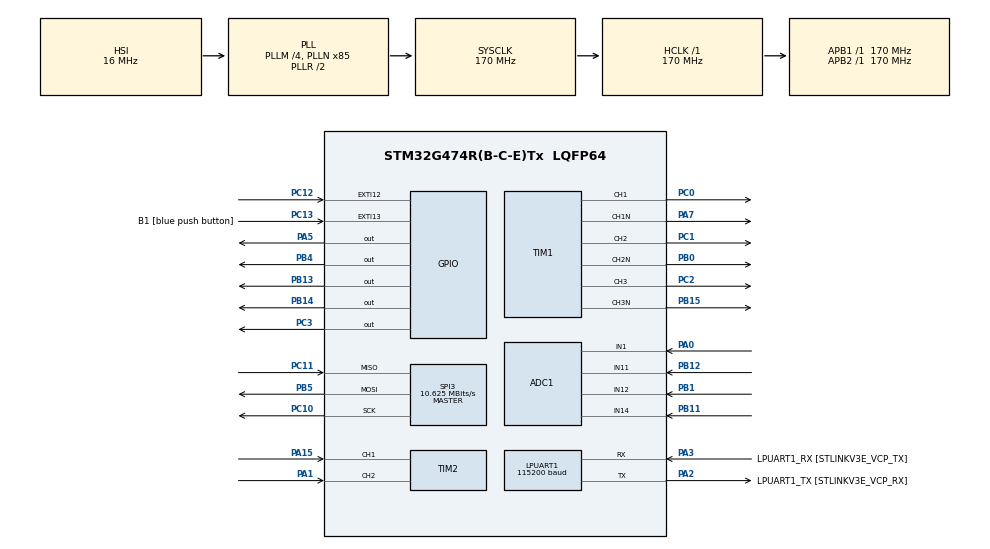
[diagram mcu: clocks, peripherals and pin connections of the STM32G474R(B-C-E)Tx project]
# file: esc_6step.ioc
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ADC1.EnableInjectedConversion=ENABLE
ADC1.EnableRegularConversion=DISABLE
ADC1.ExternalTrigInjecConv=ADC_EXTERNALTRIGINJEC_T1_TRGO
ADC1.InjNumberOfConversion=1
ADC1.InjectedChannel-2\#ChannelInjectedConversion=ADC_CHANNEL_1
ADC1.InjectedOffsetNumber-2\#ChannelInjectedConversion=ADC_OFFSET_NONE
ADC1.InjectedRank-2\#ChannelInjectedConversion=1
ADC1.InjectedSamplingTime-2\#ChannelInjectedConversion=ADC_SAMPLETIME_2CYCLES_5
ADC1.master=1
Dma.Request0=SPI3_RX
Dma.Request1=SPI3_TX
Dma.SPI3_RX.0.Direction=DMA_PERIPH_TO_MEMORY
Dma.SPI3_RX.0.EventEnable=DISABLE
Dma.SPI3_RX.0.Instance=DMA1_Channel1
Dma.SPI3_RX.0.MemDataAlignment=DMA_MDATAALIGN_BYTE
Dma.SPI3_RX.0.MemInc=DMA_MINC_ENABLE
Dma.SPI3_RX.0.Mode=DMA_NORMAL
Dma.SPI3_RX.0.PeriphDataAlignment=DMA_PDATAALIGN_BYTE
Dma.SPI3_RX.0.PeriphInc=DMA_PINC_DISABLE
Dma.SPI3_RX.0.Polarity=HAL_DMAMUX_REQ_GEN_RISING
Dma.SPI3_RX.0.Priority=DMA_PRIORITY_LOW
Dma.SPI3_RX.0.RequestNumber=1
Dma.SPI3_RX.0.SignalID=NONE
Dma.SPI3_RX.0.SyncEnable=DISABLE
Dma.SPI3_RX.0.SyncPolarity=HAL_DMAMUX_SYNC_NO_EVENT
Dma.SPI3_RX.0.SyncRequestNumber=1
Dma.SPI3_RX.0.SyncSignalID=NONE
Dma.SPI3_TX.1.Direction=DMA_MEMORY_TO_PERIPH
Dma.SPI3_TX.1.EventEnable=DISABLE
Dma.SPI3_TX.1.Instance=DMA1_Channel2
Dma.SPI3_TX.1.MemDataAlignment=DMA_MDATAALIGN_BYTE
Dma.SPI3_TX.1.MemInc=DMA_MINC_ENABLE
Dma.SPI3_TX.1.Mode=DMA_NORMAL
Dma.SPI3_TX.1.PeriphDataAlignment=DMA_PDATAALIGN_BYTE
Dma.SPI3_TX.1.PeriphInc=DMA_PINC_DISABLE
Dma.SPI3_TX.1.Polarity=HAL_DMAMUX_REQ_GEN_RISING
Dma.SPI3_TX.1.Priority=DMA_PRIORITY_LOW
Dma.SPI3_TX.1.RequestNumber=1
Dma.SPI3_TX.1.SignalID=NONE
Dma.SPI3_TX.1.SyncEnable=DISABLE
Dma.SPI3_TX.1.SyncPolarity=HAL_DMAMUX_SYNC_NO_EVENT
Dma.SPI3_TX.1.SyncRequestNumber=1
Dma.SPI3_TX.1.SyncSignalID=NONE
LPUART1.BaudRate=115200
LPUART1.WordLength=UART_WORDLENGTH_8B
Mcu.Family=STM32G4
Mcu.Name=STM32G474R(B-C-E)Tx
Mcu.Package=LQFP64
NVIC.DMA1_Channel1_IRQn=true\:0\:0\:false\:false\:true\:false\:true\:true
NVIC.DMA1_Channel2_IRQn=true\:0\:0\:false\:false\:true\:false\:true\:true
NVIC.PriorityGroup=NVIC_PRIORITYGROUP_4
PA0.Mode=IN1-Single-Ended
PA0.Signal=ADC1_IN1
PA1.Signal=S_TIM2_CH2
PA13.GPIO_Label=T_SWDIO
PA13.Mode=Serial_Wire
PA13.Signal=SYS_JTMS-SWDIO
PA14.GPIO_Label=T_SWCLK
PA14.Mode=Serial_Wire
PA14.Signal=SYS_JTCK-SWCLK
PA15.Signal=S_TIM2_CH1
PA2.GPIO_Label=LPUART1_TX [STLINKV3E_VCP_RX]
PA2.Mode=Asynchronous
PA2.Signal=LPUART1_TX
PA3.GPIO_Label=LPUART1_RX [STLINKV3E_VCP_TX]
PA3.Mode=Asynchronous
PA3.Signal=LPUART1_RX
PA5.Signal=GPIO_Output
PA7.Mode=PWM Generation1 CH1 CH1N
PA7.Signal=TIM1_CH1N
PB0.Mode=PWM Generation2 CH2 CH2N
PB0.Signal=TIM1_CH2N
PB1.Mode=IN12-Single-Ended
PB1.Signal=ADC1_IN12
PB11.Mode=IN14-Single-Ended
PB11.Signal=ADC1_IN14
PB12.Mode=IN11-Single-Ended
PB12.Signal=ADC1_IN11
PB13.Signal=GPIO_Output
PB14.Signal=GPIO_Output
PB15.Mode=PWM Generation3 CH3 CH3N
PB15.Signal=TIM1_CH3N
PB3.GPIO_Label=T_SWO
PB3.Signal=SYS_JTDO-SWO
PB4.Signal=GPIO_Output
PB5.Mode=Full_Duplex_Master
PB5.Signal=SPI3_MOSI
PC0.Signal=S_TIM1_CH1
PC1.Signal=S_TIM1_CH2
PC10.Mode=Full_Duplex_Master
PC10.Signal=SPI3_SCK
PC11.Mode=Full_Duplex_Master
PC11.Signal=SPI3_MISO
PC12.GPIO_ModeDefaultEXTI=GPIO_MODE_IT_RISING
PC12.Signal=GPXTI12
PC13.GPIO_Label=B1 [blue push button]
PC13.GPIO_ModeDefaultEXTI=GPIO_MODE_IT_RISING
PC13.Signal=GPXTI13
PC14-OSC32_IN.Mode=LSE-External-Oscillator
PC14-OSC32_IN.Signal=RCC_OSC32_IN
PC15-OSC32_OUT.Mode=LSE-External-Oscillator
PC15-OSC32_OUT.Signal=RCC_OSC32_OUT
PC2.Signal=S_TIM1_CH3
PC3.Signal=GPIO_Output
PF0-OSC_IN.Mode=HSE-External-Oscillator
PF0-OSC_IN.Signal=RCC_OSC_IN
PF1-OSC_OUT.Mode=HSE-External-Oscillator
PF1-OSC_OUT.Signal=RCC_OSC_OUT
ProjectManager.HeapSize=0x200
ProjectManager.StackSize=0x400
ProjectManager.TargetToolchain=STM32CubeIDE
RCC.ADC12Freq_Value=170000000
RCC.ADC345Freq_Value=170000000
RCC.AHBFreq_Value=170000000
RCC.APB1Freq_Value=170000000
RCC.APB1TimFreq_Value=170000000
RCC.APB2Freq_Value=170000000
RCC.APB2TimFreq_Value=170000000
RCC.CortexFreq_Value=170000000
RCC.EXTERNAL_CLOCK_VALUE=12288000
RCC.HCLKFreq_Value=170000000
RCC.HSE_VALUE=24000000
RCC.HSI48_VALUE=48000000
RCC.HSI_VALUE=16000000
RCC.PLLM=RCC_PLLM_DIV4
RCC.PLLN=85
RCC.RTCClockSelection=RCC_RTCCLKSOURCE_LSE
RCC.SYSCLKFreq_VALUE=170000000
RCC.SYSCLKSource=RCC_SYSCLKSOURCE_PLLCLK
RCC.USBFreq_Value=170000000
RCC.VCOOutputFreq_Value=340000000
SH.S_TIM1_CH1.0=TIM1_CH1,PWM Generation1 CH1 CH1N
SH.S_TIM1_CH2.0=TIM1_CH2,PWM Generation2 CH2 CH2N
SH.S_TIM1_CH3.0=TIM1_CH3,PWM Generation3 CH3 CH3N
SH.S_TIM2_CH1.0=TIM2_CH1,Encoder_Interface
SH.S_TIM2_CH2.0=TIM2_CH2,Encoder_Interface
SPI3.BaudRatePrescaler=SPI_BAUDRATEPRESCALER_16
SPI3.CalculateBaudRate=10.625 MBits/s
SPI3.DataSize=SPI_DATASIZE_8BIT
SPI3.Direction=SPI_DIRECTION_2LINES
SPI3.Mode=SPI_MODE_MASTER
SPI3.VirtualType=VM_MASTER
TIM1.Channel-PWM\ Generation1\ CH1\ CH1N=TIM_CHANNEL_1
TIM1.Channel-PWM\ Generation2\ CH2\ CH2N=TIM_CHANNEL_2
TIM1.Channel-PWM\ Generation3\ CH3\ CH3N=TIM_CHANNEL_3
TIM1.Channel-PWM\ Generation4\ No\ Output=TIM_CHANNEL_4
TIM1.CounterMode=TIM_COUNTERMODE_CENTERALIGNED1
TIM1.TIM_MasterOutputTrigger=TIM_TRGO_UPDATE
VP_DAC1_VS_DACI1.Mode=DAC_OUT1_Int
VP_SYS_VS_DBSignals.Mode=DisableDeadBatterySignals
VP_TIM1_VS_no_output4.Mode=PWM Generation4 No Output
board=NUCLEO-G474RE

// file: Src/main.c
/* USER CODE BEGIN Header */
/**
  ******************************************************************************
  * @file           : main.c
  * @brief          : Main program body
  ******************************************************************************
  * @attention
  *
  * Copyright (c) 2025 STMicroelectronics.
  * All rights reserved.
  *
  * This software is licensed under terms that can be found in the LICENSE file
  * in the root directory of this software component.
  * If no LICENSE file comes with this software, it is provided AS-IS.
  *
  ******************************************************************************
  */
/* USER CODE END Header */
#include "main.h"

/* USER CODE BEGIN Includes */

#include "spiflash.h"
#include "trace_spiflash.h"
#include <stdio.h>
/* USER CODE END Includes */

/* USER CODE BEGIN PM */
#ifndef __HAL_TIM_SET_TRGO
#define __HAL_TIM_SET_TRGO(__HANDLE__, __TRGO__) \
  MODIFY_REG((__HANDLE__)->Instance->CR2, TIM_CR2_MMS, (__TRGO__))
#endif
/* USER CODE END PM */

ADC_HandleTypeDef hadc1;

DAC_HandleTypeDef hdac1;

UART_HandleTypeDef hlpuart1;

SPI_HandleTypeDef hspi3;
DMA_HandleTypeDef hdma_spi3_rx;
DMA_HandleTypeDef hdma_spi3_tx;

TIM_HandleTypeDef htim1;
TIM_HandleTypeDef htim2;

/* USER CODE BEGIN PV */
// throttle
//
// BUG: low RPM has weird backward-looking phases, cannot commutate correctly
// BUG: Blown cycle budget on commutating
// BUG: new pinout (driven by adding TIM2	) affects performance: an ADC pin is adjacent to a timer pin
// BUG: COMM_MODE_PWMHIGH and COMM_MODE_PWMLOW dont work as well as should
// BUG: RPM filter assumes a fixed sample rate but its not
// TODO: try 60K
// TODO: fit PWMHIGH mode
// TODO: Analog throttle
// TODO: try highres timer
// TODO: lookup table for commutator step switchblock
// TODO: rewrite time-critical bits in LL
// TODO: Make time ch4 handling a one-time, remove from commutation func
// TODO: Macros for trigger, tasks
//
// encpos[4], cputime[4], adcval[2], commstate[2], 			comm_stabilize_count[4]
// shaftpos	  time, 	  adc		 commutator angle		how long since zc_det
//

#define ADC_BUF_SZ (2048)
#define TRG_BUF_SZ (2048)
#define TRIG_IDLE (0)
#define TRIG_PENDING (1)
#define TRIG_COMPLETE (2)
const int STATE_MEASURE = 0;
const int STATE_SPINUP = 1;
const int STATE_COMMUTATE = 2;

// MACRO
#define LPF(x, y, A, B) ( x*A + y*B )
#define TRIGGER_START(x)    (x = (x==TRIG_IDLE) ? TRIG_PENDING : x     )
#define TRIGGER_COMPLETE(x) (x = (x==TRIG_PENDING) ? TRIG_COMPLETE : x )
#define TRIGGER_RESET(x)    (x = TRIG_IDLE)
#define TRIGGER_STAT(x) (x)
const float CPU_CLK = 170E6;
void commutator(uint8_t step, uint16_t duty_cycle_ticks);
int16_t adc_buf[ADC_BUF_SZ];
uint32_t trg_buf[TRG_BUF_SZ];

// param
const int MOD_FREQ = 30000;
uint16_t per = (int)( CPU_CLK / (2*MOD_FREQ) );
// speed tables
float speed_vals[] = {0.70, 0.70, 0.87, 0.99};
int NUM_SPEEDS = sizeof(speed_vals) >> 2;
int speed_ndx = 0; // 0=

// commutation tables
#if 1
// canocial (ccw)
uint32_t comm_source_chan[6] = 	{TIM_CHANNEL_1, TIM_CHANNEL_1, TIM_CHANNEL_2, TIM_CHANNEL_2, TIM_CHANNEL_3, TIM_CHANNEL_3};
uint32_t comm_sink_chan[6] =   	{TIM_CHANNEL_2, TIM_CHANNEL_3, TIM_CHANNEL_3, TIM_CHANNEL_1, TIM_CHANNEL_1, TIM_CHANNEL_2};
uint32_t comm_float_chan[6] =  	{TIM_CHANNEL_3, TIM_CHANNEL_2, TIM_CHANNEL_1, TIM_CHANNEL_3, TIM_CHANNEL_2, TIM_CHANNEL_1};
uint32_t comm_adc_chan[6] = 	{ADC_CHANNEL_11, ADC_CHANNEL_12, ADC_CHANNEL_1, ADC_CHANNEL_11, ADC_CHANNEL_12, ADC_CHANNEL_1};
uint32_t comm_zz_pol[6] =       {0, 1, 0, 1, 0, 1};
#else
// alternate (cw)
uint32_t comm_source_chan[6] = 	{TIM_CHANNEL_1, TIM_CHANNEL_3, TIM_CHANNEL_3, TIM_CHANNEL_2, TIM_CHANNEL_2, TIM_CHANNEL_1};
uint32_t comm_sink_chan[6] =   	{TIM_CHANNEL_2, TIM_CHANNEL_2, TIM_CHANNEL_1, TIM_CHANNEL_1, TIM_CHANNEL_3, TIM_CHANNEL_3};
uint32_t comm_float_chan[6] =  	{TIM_CHANNEL_3, TIM_CHANNEL_1, TIM_CHANNEL_2, TIM_CHANNEL_3, TIM_CHANNEL_1, TIM_CHANNEL_2};
uint32_t comm_adc_chan[6] = 	{ADC_CHANNEL_11, ADC_CHANNEL_1, ADC_CHANNEL_12, ADC_CHANNEL_11, ADC_CHANNEL_1, ADC_CHANNEL_12};
uint32_t comm_zz_pol[6] =       {1, 0, 1, 0, 1, 0};
#endif

#define COMM_MODE_PWMCOMP
//#define COMM_MODE_PWMHIGH
//#define COMM_MODE_PWMLOW
float frq_start = 10;  // hz
float frq_stop = 300;  // hz
float frq_inc = 600; // hz/sec
int hold_end_spinup = 0;
int motor_pp = 7;
float motor_res = 10;
float motor_inductino = 1E-5;
uint32_t dt = 1;
float ALFA_RPM = 0.003;
float ALFA_RPM1 = 0.997;

// global
int adc_ndx = 0;
int trg_ndx = 0;
uint8_t comm_step = 0;
int enable = 0;
float frq_commtask = 10;
int lim_commtask = 3000;  // MOD_FREQ / comm_freq
uint8_t comm_state = STATE_MEASURE; // 0 = measure, 1=windup, 2=commmutation
int zc_pol = 0;
int switched  = 0;
int comm_stabilize_count = 0;
float rpm_est = 0;
uint16_t ref;
uint32_t trig_measure = 0;
const uint32_t MEASURE_THRESH = ADC_BUF_SZ / 2;
float ttf;
uint32_t mod_tick = 0;
uint32_t delta_mod = 0;
uint32_t zc_sw = 0;
uint32_t bemf_sw = 0;
int32_t bemfdiff_sw = 0;
uint32_t comm_duty;
uint16_t encpos_g = 0;
uint16_t bemf_raw = 0;

int trace_trigger = 0;
// 1 block = 256 bytes
#define TRACEBUF_SZ_B (2048)
#define TRACE_FILE_LEN_B (0x40000)
uint8_t trace_buf[TRACEBUF_SZ_B+4];

uint16_t handler_tim=0;
	trace_object_t traceobj = {
		.stat = 0,
		.buffer_start = trace_buf+4,
		.buffer_len_b = TRACEBUF_SZ_B,
		.trace_entry_len_b = 8,
		.trace_file_len_b = TRACE_FILE_LEN_B,
		.flash_len_b = 1024*1024*16,
		.num_tracevals = 5,
		.tracevals = {
		{&encpos_g, 2},
		{&bemf_raw, 2},
		{&comm_state,1},
		{&comm_step, 1},
		{&handler_tim, 2}
		}
};

/* USER CODE END PV */

void SystemClock_Config(void);
static void MX_GPIO_Init(void);
static void MX_DMA_Init(void);
static void MX_DAC1_Init(void);
static void MX_LPUART1_UART_Init(void);
static void MX_TIM1_Init(void);
static void MX_ADC1_Init(void);
static void MX_TIM2_Init(void);
static void MX_SPI3_Init(void);
/* USER CODE BEGIN PFP */
#define PUTCHAR_PROTOTYPE int __io_putchar(int ch)

/* USER CODE END PFP */

/* USER CODE BEGIN 0 */

void ADC1_2_IRQHandler(void)
{
    HAL_ADC_IRQHandler(&hadc1);
}

void HAL_ADCEx_InjectedConvCpltCallback(ADC_HandleTypeDef *hadc)
{
	static int ctr_commtask = 0;

	if (hadc->Instance == ADC1)
    {
HAL_GPIO_WritePin(GPIOB, GPIO_PIN_14, GPIO_PIN_RESET);
		static uint16_t last_bemf = 0, bemf = 0;
		uint32_t t0 = DWT->CYCCNT;

        bemf_raw = HAL_ADCEx_InjectedGetValue(hadc, ADC_INJECTED_RANK_1);

        //bemf = (bemf_raw + last_bemf) / 2;
        bemf = bemf_raw;

        adc_buf[adc_ndx] = bemf;

        if (comm_state == STATE_MEASURE)
        {
        	// one-time state to measure ref voltage before motor running
        	if (adc_ndx >= MEASURE_THRESH) TRIGGER_START(trig_measure);   // schedule ref measurement
        }
        else if (comm_state == STATE_SPINUP)
        {
        	// manage spin-up state
			if (ctr_commtask >= lim_commtask)
			{
				commutator(comm_step, comm_duty);
				++comm_step;
				if (comm_step == 6) comm_step = 0;
				ctr_commtask = 0;
			}
			++ctr_commtask;
        }
        else if (comm_state == STATE_COMMUTATE)
        {
            // Manage commutating state: detect ZC and commutate
			if (    (comm_stabilize_count > 2) && ( (zc_pol == 0 && bemf < ref) || (zc_pol == 1 && bemf > ref) ) )
			{
				// zero cross detected. Commutate the motor.
				static uint32_t last_tick = 0;
				static uint32_t last_t = 0;
				static float y1 = 0;

				commutator(comm_step, comm_duty);
				++comm_step;
				if (comm_step == 6) comm_step = 0;

				// log time, calculate RPM
				uint32_t t = DWT->CYCCNT;
				dt = (t - last_t);
				ttf = LPF((float)dt, y1, ALFA_RPM, ALFA_RPM1);
				y1 = ttf;

				last_t = t;
				trg_buf[trg_ndx] = dt;
				++trg_ndx;
				if (trg_ndx >= TRG_BUF_SZ) trg_ndx = 0;

				delta_mod = mod_tick - last_tick;
				bemf_sw = bemf;
				zc_sw = zc_pol;
				bemfdiff_sw = (int32_t)bemf - (int32_t)last_bemf;
				last_tick = mod_tick;

        	}
        }

        ++adc_ndx;
        if (adc_ndx >= ADC_BUF_SZ) adc_ndx = 0;
        ++mod_tick;
        ++comm_stabilize_count;
        last_bemf = bemf_raw;

		if (trace_trigger == 2)
		{
//			HAL_GPIO_WritePin(GPIOB, GPIO_PIN_13, GPIO_PIN_RESET);				// run commutator
			trace(&traceobj, &hspi3);
//			HAL_GPIO_WritePin(GPIOB, GPIO_PIN_13, GPIO_PIN_SET);				// run commutator
		}

		HAL_GPIO_WritePin(GPIOB, GPIO_PIN_14, GPIO_PIN_SET);

		uint32_t t1 = DWT->CYCCNT;
		handler_tim = (t1 - t0) & 0xFFFF; // time of this handler

    }
}

void commutator(uint8_t step, uint16_t duty)
{
	//printf("phs=%d, dut=%d\n", step, duty);
    TIM_OC_InitTypeDef sConfig = {
        .OCPolarity = TIM_OCPOLARITY_HIGH,
        .OCNPolarity = TIM_OCNPOLARITY_HIGH,
        .OCFastMode = TIM_OCFAST_DISABLE,
        .OCIdleState = TIM_OCIDLESTATE_RESET,
        .OCNIdleState = TIM_OCNIDLESTATE_RESET,
    };

    // Determine active channels
    uint32_t source_ch = comm_source_chan[step];
    uint32_t sink_ch = comm_sink_chan[step];
    uint32_t float_ch = comm_float_chan[step];
    uint32_t adc_ch = comm_adc_chan[step];
    zc_pol = comm_zz_pol[step];

	SetInjectedBEMFChannel(adc_ch);

    HAL_TIM_PWM_Stop(&htim1, TIM_CHANNEL_1); HAL_TIMEx_PWMN_Stop(&htim1, TIM_CHANNEL_1); __HAL_TIM_SET_COMPARE(&htim1, TIM_CHANNEL_1, 0);
    HAL_TIM_PWM_Stop(&htim1, TIM_CHANNEL_2); HAL_TIMEx_PWMN_Stop(&htim1, TIM_CHANNEL_2); __HAL_TIM_SET_COMPARE(&htim1, TIM_CHANNEL_2, 0);
    HAL_TIM_PWM_Stop(&htim1, TIM_CHANNEL_3); HAL_TIMEx_PWMN_Stop(&htim1, TIM_CHANNEL_3); __HAL_TIM_SET_COMPARE(&htim1, TIM_CHANNEL_3, 0);
    HAL_TIM_PWM_Stop(&htim1, TIM_CHANNEL_4);											 __HAL_TIM_SET_COMPARE(&htim1, TIM_CHANNEL_4, per/2);

    sConfig.Pulse = duty;

// SOURCE SIDE
#if defined(COMM_MODE_PWMLOW)
    sConfig.OCMode = TIM_OCMODE_FORCED_ACTIVE;
#else // COMM_MODE_PWMCOMP
    sConfig.OCMode = TIM_OCMODE_PWM1;
#endif
    HAL_TIM_PWM_ConfigChannel(&htim1, &sConfig, source_ch);
    HAL_TIM_PWM_Start(&htim1, source_ch);
    HAL_TIMEx_PWMN_Start(&htim1, source_ch);

// SINK SIDE
#if defined(COMM_MODE_PWMHIGH)
    sConfig.OCMode = TIM_OCMODE_FORCED_INACTIVE;
#else
    sConfig.OCMode = TIM_OCMODE_PWM2;
#endif
    HAL_TIM_PWM_ConfigChannel(&htim1, &sConfig, sink_ch);
    HAL_TIM_PWM_Start(&htim1, sink_ch);
    HAL_TIMEx_PWMN_Start(&htim1, sink_ch);
    HAL_TIM_PWM_Start(&htim1, TIM_CHANNEL_4);
    comm_stabilize_count = 0;
}

void SetInjectedBEMFChannel(uint32_t adc_channel)
{
    ADC_InjectionConfTypeDef sConfigInjected = {0};

    sConfigInjected.InjectedChannel = adc_channel;
    sConfigInjected.InjectedRank = ADC_INJECTED_RANK_1;
    sConfigInjected.InjectedSamplingTime = ADC_SAMPLETIME_2CYCLES_5;
    sConfigInjected.InjectedSingleDiff = ADC_SINGLE_ENDED;
    sConfigInjected.InjectedOffsetNumber = ADC_OFFSET_NONE;
    sConfigInjected.InjectedOffset = 0;
    sConfigInjected.InjectedNbrOfConversion = 1;
    sConfigInjected.InjectedDiscontinuousConvMode = DISABLE;
    sConfigInjected.AutoInjectedConv = DISABLE;
    sConfigInjected.QueueInjectedContext = DISABLE;
    sConfigInjected.ExternalTrigInjecConv = ADC_EXTERNALTRIGINJEC_T1_TRGO;

    sConfigInjected.ExternalTrigInjecConvEdge = ADC_EXTERNALTRIGINJECCONV_EDGE_RISING;
    sConfigInjected.InjecOversamplingMode = DISABLE;

    HAL_ADCEx_InjectedConfigChannel(&hadc1, &sConfigInjected);
}

void EXTI15_10_IRQHandler(void)
{
    HAL_GPIO_EXTI_IRQHandler(GPIO_PIN_13 );
    HAL_GPIO_EXTI_IRQHandler(GPIO_PIN_12 );
}
void HAL_GPIO_EXTI_Callback(uint16_t GPIO_Pin)
{
    if (GPIO_Pin == GPIO_PIN_13)
    {
        // This gets called when PA0 has an edge event
        // Your interrupt logic goes here

        speed_ndx += 1;
        if (speed_ndx >= NUM_SPEEDS)
			speed_ndx = 0;
        comm_duty = per * speed_vals[speed_ndx];

    }
    else if (GPIO_Pin == GPIO_PIN_12)
    {
        //HAL_GPIO_TogglePin(GPIOA, GPIO_PIN_5);  // e.g., toggle an LED

    }

}

/* USER CODE END 0 */

int main(void)
{
  /* USER CODE BEGIN 1 */

	// Set DAC1_OUT1 to midpoint voltage (VBUS / 2 ≈ 1.65V if VBUS = 3.3V).

  /* USER CODE END 1 */

  /* MCU Configuration--------------------------------------------------------*/

  /* Reset of all peripherals, Initializes the Flash interface and the Systick. */
  HAL_Init();

  /* Configure the system clock */
  SystemClock_Config();

  /* Initialize all configured peripherals */
  MX_GPIO_Init();
  MX_DMA_Init();
  MX_DAC1_Init();
  MX_LPUART1_UART_Init();
  MX_TIM1_Init();
  MX_ADC1_Init();
  MX_TIM2_Init();
  MX_SPI3_Init();
  /* USER CODE BEGIN 2 */

  HAL_Delay(50);

  // enable ADC interrupt
  __HAL_ADC_ENABLE_IT(&hadc1, ADC_IT_JEOC);
  __HAL_ADC_GET_IT_SOURCE(&hadc1, ADC_IT_JEOC);
  HAL_ADCEx_InjectedStart_IT(&hadc1);
  HAL_NVIC_SetPriority(ADC1_2_IRQn, 0, 0);
  HAL_NVIC_EnableIRQ(ADC1_2_IRQn);

  // enable GPIO interrupts
  HAL_NVIC_SetPriority(EXTI15_10_IRQn, 0, 0);
  HAL_NVIC_EnableIRQ(EXTI15_10_IRQn);

  // enable
  HAL_GPIO_WritePin(GPIOC, GPIO_PIN_3, GPIO_PIN_SET);

  comm_duty = per * speed_vals[speed_ndx] ; // out of TIM1->ARR

  commutator(comm_step, comm_duty);
  CoreDebug->DEMCR |= CoreDebug_DEMCR_TRCENA_Msk;
  DWT->CYCCNT = 0;
  DWT->CTRL |= DWT_CTRL_CYCCNTENA_Msk;

  /* USER CODE END 2 */

  /* Infinite loop */
  /* USER CODE BEGIN WHILE */

  uint32_t TASK_HANDLER_LIM = CPU_CLK / 100;
  uint32_t TASK_HANDLER_EL ;
  uint32_t TASK_HANDLER_t0 = DWT->CYCCNT ;

  uint32_t DIAG_HANDLER_LIM = CPU_CLK / 1;
  uint32_t DIAG_HANDLER_EL ;
  uint32_t DIAG_HANDLER_t0 = DWT->CYCCNT ;

  frq_commtask = frq_start;
  lim_commtask = MOD_FREQ / frq_commtask;
  // set ref channel for startup
  SetInjectedBEMFChannel(ADC_CHANNEL_14);
  // start counting
  HAL_TIM_Encoder_Start(&htim2, TIM_CHANNEL_ALL);

  printf("\n\n\nstarting\n\n\n");

  HAL_Delay(200);

  printf("spi status reg = %.8X\n", flash_read_status(&hspi3));
  while (1)
  {
#if 1
	  // spinup handler
	  TASK_HANDLER_EL = DWT->CYCCNT - TASK_HANDLER_t0;
	  if (TASK_HANDLER_EL >= TASK_HANDLER_LIM)
	  {
		  if (comm_state == STATE_MEASURE)
		  {
			  // check measure trigger
			  if (TRIGGER_STAT(trig_measure) == TRIG_PENDING)
			  {
				  float x=0;
				  float one_over_sz = 1.0 / MEASURE_THRESH;
				  for (int i=0; i<MEASURE_THRESH; i++ )
				  {
					  x = x + adc_buf[i] * one_over_sz;
					  //printf("ndx=%d, raw=%d val=%f\n", i, adc_buf[i] ,x);
				  }
				  ref = (int)x / 2;

				  TRIGGER_COMPLETE(trig_measure);
				  // start spinup
				  comm_state = STATE_SPINUP;
				  printf("transitioning from measure to spinup, vref=%f x=%u \n", x, ref);
				  //uint32_t trace_addr = trace_init(&traceobj, "2208_test#1_speed55_v0.54_05152025_07", &hspi3);
				  //trace_trigger = 2;

			  }
		  }
		  else if (comm_state == STATE_SPINUP)
		  {
			  if (frq_commtask < frq_stop)
			  {
				  frq_commtask += frq_inc / 100.0;
				  lim_commtask = MOD_FREQ / frq_commtask;
			  }
			  else
			  {
				  if (comm_state == STATE_SPINUP && hold_end_spinup == 0)
				  {
					  comm_state = STATE_COMMUTATE;
					  printf("transitioning from spin-up to BEMF commutation\n");
				  }
			  }
		  }
		  else if (comm_state == STATE_COMMUTATE)
		  {
			  // compute RPM
			  rpm_est = 60.0 / ( (ttf/CPU_CLK) * 6 * motor_pp );
		  }

		  TASK_HANDLER_t0 = DWT->CYCCNT;
	  }

	  // spinup handler
	  DIAG_HANDLER_EL = DWT->CYCCNT - DIAG_HANDLER_t0;

	  uint32_t encpos = __HAL_TIM_GET_COUNTER(&htim2);
	  if (DIAG_HANDLER_EL >= DIAG_HANDLER_LIM)
	  {
		  uint32_t maxk = (uint32_t)( (ttf / CPU_CLK) * MOD_FREQ );
		  printf("state=%d, spd=%d, RPM=%.0f, ref=%u, com_delt=%.1f, com_deltk=[%u/%u] com_bemfsw=%u, com_bemfdiff=%d, sw_zc=%u, qenc=%u\n",
				  comm_state, speed_ndx, rpm_est, ref, ttf, delta_mod, maxk, bemf_sw, bemfdiff_sw, zc_sw, encpos);
		  DIAG_HANDLER_t0 = DWT->CYCCNT;
	  }
#endif

    /* USER CODE END WHILE */

  }
}

void SystemClock_Config(void)
{
  RCC_OscInitTypeDef RCC_OscInitStruct = {0};
  RCC_ClkInitTypeDef RCC_ClkInitStruct = {0};

  /** Configure the main internal regulator output voltage
  */
  HAL_PWREx_ControlVoltageScaling(PWR_REGULATOR_VOLTAGE_SCALE1_BOOST);

  /** Initializes the RCC Oscillators according to the specified parameters
  * in the RCC_OscInitTypeDef structure.
  */
  RCC_OscInitStruct.OscillatorType = RCC_OSCILLATORTYPE_HSI;
  RCC_OscInitStruct.HSIState = RCC_HSI_ON;
  RCC_OscInitStruct.HSICalibrationValue = RCC_HSICALIBRATION_DEFAULT;
  RCC_OscInitStruct.PLL.PLLState = RCC_PLL_ON;
  RCC_OscInitStruct.PLL.PLLSource = RCC_PLLSOURCE_HSI;
  RCC_OscInitStruct.PLL.PLLM = RCC_PLLM_DIV4;
  RCC_OscInitStruct.PLL.PLLN = 85;
  RCC_OscInitStruct.PLL.PLLP = RCC_PLLP_DIV2;
  RCC_OscInitStruct.PLL.PLLQ = RCC_PLLQ_DIV2;
  RCC_OscInitStruct.PLL.PLLR = RCC_PLLR_DIV2;
  if (HAL_RCC_OscConfig(&RCC_OscInitStruct) != HAL_OK)
  {
    Error_Handler();
  }

  /** Initializes the CPU, AHB and APB buses clocks
  */
  RCC_ClkInitStruct.ClockType = RCC_CLOCKTYPE_HCLK|RCC_CLOCKTYPE_SYSCLK
                              |RCC_CLOCKTYPE_PCLK1|RCC_CLOCKTYPE_PCLK2;
  RCC_ClkInitStruct.SYSCLKSource = RCC_SYSCLKSOURCE_PLLCLK;
  RCC_ClkInitStruct.AHBCLKDivider = RCC_SYSCLK_DIV1;
  RCC_ClkInitStruct.APB1CLKDivider = RCC_HCLK_DIV1;
  RCC_ClkInitStruct.APB2CLKDivider = RCC_HCLK_DIV1;

  if (HAL_RCC_ClockConfig(&RCC_ClkInitStruct, FLASH_LATENCY_4) != HAL_OK)
  {
    Error_Handler();
  }
}

static void MX_ADC1_Init(void)
{

  ADC_MultiModeTypeDef multimode = {0};
  ADC_InjectionConfTypeDef sConfigInjected = {0};

  /** Common config
  */
  hadc1.Instance = ADC1;
  hadc1.Init.ClockPrescaler = ADC_CLOCK_SYNC_PCLK_DIV4;
  hadc1.Init.Resolution = ADC_RESOLUTION_12B;
  hadc1.Init.DataAlign = ADC_DATAALIGN_RIGHT;
  hadc1.Init.GainCompensation = 0;
  hadc1.Init.ScanConvMode = ADC_SCAN_DISABLE;
  hadc1.Init.EOCSelection = ADC_EOC_SINGLE_CONV;
  hadc1.Init.LowPowerAutoWait = DISABLE;
  hadc1.Init.ContinuousConvMode = DISABLE;
  hadc1.Init.NbrOfConversion = 1;
  hadc1.Init.DiscontinuousConvMode = DISABLE;
  hadc1.Init.DMAContinuousRequests = DISABLE;
  hadc1.Init.Overrun = ADC_OVR_DATA_PRESERVED;
  hadc1.Init.OversamplingMode = DISABLE;
  if (HAL_ADC_Init(&hadc1) != HAL_OK)
  {
    Error_Handler();
  }

  /** Configure the ADC multi-mode
  */
  multimode.Mode = ADC_MODE_INDEPENDENT;
  if (HAL_ADCEx_MultiModeConfigChannel(&hadc1, &multimode) != HAL_OK)
  {
    Error_Handler();
  }

  /** Configure Injected Channel
  */
  sConfigInjected.InjectedChannel = ADC_CHANNEL_1;
  sConfigInjected.InjectedRank = ADC_INJECTED_RANK_1;
  sConfigInjected.InjectedSamplingTime = ADC_SAMPLETIME_2CYCLES_5;
  sConfigInjected.InjectedSingleDiff = ADC_SINGLE_ENDED;
  sConfigInjected.InjectedOffsetNumber = ADC_OFFSET_NONE;
  sConfigInjected.InjectedOffset = 0;
  sConfigInjected.InjectedNbrOfConversion = 1;
  sConfigInjected.InjectedDiscontinuousConvMode = DISABLE;
  sConfigInjected.AutoInjectedConv = DISABLE;
  sConfigInjected.QueueInjectedContext = DISABLE;
  sConfigInjected.ExternalTrigInjecConv = ADC_EXTERNALTRIGINJEC_T1_TRGO;
  sConfigInjected.ExternalTrigInjecConvEdge = ADC_EXTERNALTRIGINJECCONV_EDGE_RISING;
  sConfigInjected.InjecOversamplingMode = DISABLE;
  if (HAL_ADCEx_InjectedConfigChannel(&hadc1, &sConfigInjected) != HAL_OK)
  {
    Error_Handler();
  }

}

static void MX_DAC1_Init(void)
{

  DAC_ChannelConfTypeDef sConfig = {0};

  /** DAC Initialization
  */
  hdac1.Instance = DAC1;
  if (HAL_DAC_Init(&hdac1) != HAL_OK)
  {
    Error_Handler();
  }

  /** DAC channel OUT1 config
  */
  sConfig.DAC_HighFrequency = DAC_HIGH_FREQUENCY_INTERFACE_MODE_AUTOMATIC;
  sConfig.DAC_DMADoubleDataMode = DISABLE;
  sConfig.DAC_SignedFormat = DISABLE;
  sConfig.DAC_SampleAndHold = DAC_SAMPLEANDHOLD_DISABLE;
  sConfig.DAC_Trigger = DAC_TRIGGER_NONE;
  sConfig.DAC_Trigger2 = DAC_TRIGGER_NONE;
  sConfig.DAC_OutputBuffer = DAC_OUTPUTBUFFER_DISABLE;
  sConfig.DAC_ConnectOnChipPeripheral = DAC_CHIPCONNECT_INTERNAL;
  sConfig.DAC_UserTrimming = DAC_TRIMMING_FACTORY;
  if (HAL_DAC_ConfigChannel(&hdac1, &sConfig, DAC_CHANNEL_1) != HAL_OK)
  {
    Error_Handler();
  }

}

static void MX_LPUART1_UART_Init(void)
{

  hlpuart1.Instance = LPUART1;
  hlpuart1.Init.BaudRate = 921600;
  hlpuart1.Init.WordLength = UART_WORDLENGTH_8B;
  hlpuart1.Init.StopBits = UART_STOPBITS_1;
  hlpuart1.Init.Parity = UART_PARITY_NONE;
  hlpuart1.Init.Mode = UART_MODE_TX_RX;
  hlpuart1.Init.HwFlowCtl = UART_HWCONTROL_NONE;
  hlpuart1.Init.OneBitSampling = UART_ONE_BIT_SAMPLE_DISABLE;
  hlpuart1.Init.ClockPrescaler = UART_PRESCALER_DIV1;
  hlpuart1.AdvancedInit.AdvFeatureInit = UART_ADVFEATURE_NO_INIT;
  if (HAL_UART_Init(&hlpuart1) != HAL_OK)
  {
    Error_Handler();
  }
  if (HAL_UARTEx_SetTxFifoThreshold(&hlpuart1, UART_TXFIFO_THRESHOLD_1_8) != HAL_OK)
  {
    Error_Handler();
  }
  if (HAL_UARTEx_SetRxFifoThreshold(&hlpuart1, UART_RXFIFO_THRESHOLD_1_8) != HAL_OK)
  {
    Error_Handler();
  }
  if (HAL_UARTEx_DisableFifoMode(&hlpuart1) != HAL_OK)
  {
    Error_Handler();
  }

}

static void MX_SPI3_Init(void)
{

  /* SPI3 parameter configuration*/
  hspi3.Instance = SPI3;
  hspi3.Init.Mode = SPI_MODE_MASTER;
  hspi3.Init.Direction = SPI_DIRECTION_2LINES;
  hspi3.Init.DataSize = SPI_DATASIZE_8BIT;
  hspi3.Init.CLKPolarity = SPI_POLARITY_LOW;
  hspi3.Init.CLKPhase = SPI_PHASE_1EDGE;
  hspi3.Init.NSS = SPI_NSS_SOFT;
  hspi3.Init.BaudRatePrescaler = SPI_BAUDRATEPRESCALER_16;
  hspi3.Init.FirstBit = SPI_FIRSTBIT_MSB;
  hspi3.Init.TIMode = SPI_TIMODE_DISABLE;
  hspi3.Init.CRCCalculation = SPI_CRCCALCULATION_DISABLE;
  hspi3.Init.CRCPolynomial = 7;
  hspi3.Init.CRCLength = SPI_CRC_LENGTH_DATASIZE;
  hspi3.Init.NSSPMode = SPI_NSS_PULSE_ENABLE;
  if (HAL_SPI_Init(&hspi3) != HAL_OK)
  {
    Error_Handler();
  }

}

static void MX_TIM1_Init(void)
{

  /* USER CODE BEGIN TIM1_Init 0 */
  // You can use TIM_TRGO_UPDATE for end-of-PWM-cycle trigger or TIM_TRGO_OCxREF for precise control if using a spare channel like TIM1_CH4.
  /* USER CODE END TIM1_Init 0 */

  TIM_MasterConfigTypeDef sMasterConfig = {0};
  TIM_OC_InitTypeDef sConfigOC = {0};
  TIM_BreakDeadTimeConfigTypeDef sBreakDeadTimeConfig = {0};

  htim1.Instance = TIM1;
  htim1.Init.Prescaler = 0;
  htim1.Init.CounterMode = TIM_COUNTERMODE_CENTERALIGNED1;
  htim1.Init.Period = per;
  htim1.Init.ClockDivision = TIM_CLOCKDIVISION_DIV1;
  htim1.Init.RepetitionCounter = 0;
  htim1.Init.AutoReloadPreload = TIM_AUTORELOAD_PRELOAD_DISABLE;
  if (HAL_TIM_PWM_Init(&htim1) != HAL_OK)
  {
    Error_Handler();
  }
  sMasterConfig.MasterOutputTrigger = TIM_TRGO_UPDATE;
  sMasterConfig.MasterOutputTrigger2 = TIM_TRGO2_RESET;
  sMasterConfig.MasterSlaveMode = TIM_MASTERSLAVEMODE_DISABLE;
  if (HAL_TIMEx_MasterConfigSynchronization(&htim1, &sMasterConfig) != HAL_OK)
  {
    Error_Handler();
  }
  sConfigOC.OCMode = TIM_OCMODE_PWM1;
  sConfigOC.Pulse = 0;
  sConfigOC.OCPolarity = TIM_OCPOLARITY_HIGH;
  sConfigOC.OCNPolarity = TIM_OCNPOLARITY_HIGH;
  sConfigOC.OCFastMode = TIM_OCFAST_DISABLE;
  sConfigOC.OCIdleState = TIM_OCIDLESTATE_RESET;
  sConfigOC.OCNIdleState = TIM_OCNIDLESTATE_RESET;
  if (HAL_TIM_PWM_ConfigChannel(&htim1, &sConfigOC, TIM_CHANNEL_1) != HAL_OK)
  {
    Error_Handler();
  }
  if (HAL_TIM_PWM_ConfigChannel(&htim1, &sConfigOC, TIM_CHANNEL_2) != HAL_OK)
  {
    Error_Handler();
  }
  if (HAL_TIM_PWM_ConfigChannel(&htim1, &sConfigOC, TIM_CHANNEL_3) != HAL_OK)
  {
    Error_Handler();
  }
  if (HAL_TIM_PWM_ConfigChannel(&htim1, &sConfigOC, TIM_CHANNEL_4) != HAL_OK)
  {
    Error_Handler();
  }
  sBreakDeadTimeConfig.OffStateRunMode = TIM_OSSR_DISABLE;
  sBreakDeadTimeConfig.OffStateIDLEMode = TIM_OSSI_DISABLE;
  sBreakDeadTimeConfig.LockLevel = TIM_LOCKLEVEL_OFF;
  sBreakDeadTimeConfig.DeadTime = 0;
  sBreakDeadTimeConfig.BreakState = TIM_BREAK_DISABLE;
  sBreakDeadTimeConfig.BreakPolarity = TIM_BREAKPOLARITY_HIGH;
  sBreakDeadTimeConfig.BreakFilter = 0;
  sBreakDeadTimeConfig.BreakAFMode = TIM_BREAK_AFMODE_INPUT;
  sBreakDeadTimeConfig.Break2State = TIM_BREAK2_DISABLE;
  sBreakDeadTimeConfig.Break2Polarity = TIM_BREAK2POLARITY_HIGH;
  sBreakDeadTimeConfig.Break2Filter = 0;
  sBreakDeadTimeConfig.Break2AFMode = TIM_BREAK_AFMODE_INPUT;
  sBreakDeadTimeConfig.AutomaticOutput = TIM_AUTOMATICOUTPUT_DISABLE;
  if (HAL_TIMEx_ConfigBreakDeadTime(&htim1, &sBreakDeadTimeConfig) != HAL_OK)
  {
    Error_Handler();
  }
  /* USER CODE BEGIN TIM1_Init 2 */
  //sMasterConfig.MasterOutputTrigger = TIM_TRGO_OC4REF;
  htim1.Instance->CCR4 = per / 2;

  // Manually override the TIM1 TRGO trigger to use CH4 compare event
  __HAL_TIM_SET_TRGO(&htim1, TIM_TRGO_OC4REF);

  /* USER CODE END TIM1_Init 2 */
  HAL_TIM_MspPostInit(&htim1);

}

static void MX_TIM2_Init(void)
{

  TIM_Encoder_InitTypeDef sConfig = {0};
  TIM_MasterConfigTypeDef sMasterConfig = {0};

  htim2.Instance = TIM2;
  htim2.Init.Prescaler = 0;
  htim2.Init.CounterMode = TIM_COUNTERMODE_UP;
  htim2.Init.Period = 4.294967295E9;
  htim2.Init.ClockDivision = TIM_CLOCKDIVISION_DIV1;
  htim2.Init.AutoReloadPreload = TIM_AUTORELOAD_PRELOAD_DISABLE;
  sConfig.EncoderMode = TIM_ENCODERMODE_TI1;
  sConfig.IC1Polarity = TIM_ICPOLARITY_RISING;
  sConfig.IC1Selection = TIM_ICSELECTION_DIRECTTI;
  sConfig.IC1Prescaler = TIM_ICPSC_DIV1;
  sConfig.IC1Filter = 0;
  sConfig.IC2Polarity = TIM_ICPOLARITY_RISING;
  sConfig.IC2Selection = TIM_ICSELECTION_DIRECTTI;
  sConfig.IC2Prescaler = TIM_ICPSC_DIV1;
  sConfig.IC2Filter = 0;
  if (HAL_TIM_Encoder_Init(&htim2, &sConfig) != HAL_OK)
  {
    Error_Handler();
  }
  sMasterConfig.MasterOutputTrigger = TIM_TRGO_RESET;
  sMasterConfig.MasterSlaveMode = TIM_MASTERSLAVEMODE_DISABLE;
  if (HAL_TIMEx_MasterConfigSynchronization(&htim2, &sMasterConfig) != HAL_OK)
  {
    Error_Handler();
  }

}

static void MX_DMA_Init(void)
{

  /* DMA controller clock enable */
  __HAL_RCC_DMAMUX1_CLK_ENABLE();
  __HAL_RCC_DMA1_CLK_ENABLE();

  /* DMA interrupt init */
  /* DMA1_Channel1_IRQn interrupt configuration */
  HAL_NVIC_SetPriority(DMA1_Channel1_IRQn, 0, 0);
  HAL_NVIC_EnableIRQ(DMA1_Channel1_IRQn);
  /* DMA1_Channel2_IRQn interrupt configuration */
  HAL_NVIC_SetPriority(DMA1_Channel2_IRQn, 0, 0);
  HAL_NVIC_EnableIRQ(DMA1_Channel2_IRQn);

}

static void MX_GPIO_Init(void)
{
  GPIO_InitTypeDef GPIO_InitStruct = {0};

  /* GPIO Ports Clock Enable */
  __HAL_RCC_GPIOC_CLK_ENABLE();
  __HAL_RCC_GPIOF_CLK_ENABLE();
  __HAL_RCC_GPIOA_CLK_ENABLE();
  __HAL_RCC_GPIOB_CLK_ENABLE();

  /*Configure GPIO pin Output Level */
  HAL_GPIO_WritePin(GPIOC, GPIO_PIN_3, GPIO_PIN_RESET);

  /*Configure GPIO pin Output Level */
  HAL_GPIO_WritePin(GPIOA, GPIO_PIN_5, GPIO_PIN_RESET);

  /*Configure GPIO pin Output Level */
  HAL_GPIO_WritePin(GPIOB, GPIO_PIN_13|GPIO_PIN_14|GPIO_PIN_4, GPIO_PIN_RESET);

  /*Configure GPIO pins : B1_Pin PC12 */
  GPIO_InitStruct.Pin = B1_Pin|GPIO_PIN_12;
  GPIO_InitStruct.Mode = GPIO_MODE_IT_RISING;
  GPIO_InitStruct.Pull = GPIO_NOPULL;
  HAL_GPIO_Init(GPIOC, &GPIO_InitStruct);

  /*Configure GPIO pin : PC3 */
  GPIO_InitStruct.Pin = GPIO_PIN_3;
  GPIO_InitStruct.Mode = GPIO_MODE_OUTPUT_PP;
  GPIO_InitStruct.Pull = GPIO_NOPULL;
  GPIO_InitStruct.Speed = GPIO_SPEED_FREQ_LOW;
  HAL_GPIO_Init(GPIOC, &GPIO_InitStruct);

  /*Configure GPIO pin : PA5 */
  GPIO_InitStruct.Pin = GPIO_PIN_5;
  GPIO_InitStruct.Mode = GPIO_MODE_OUTPUT_PP;
  GPIO_InitStruct.Pull = GPIO_NOPULL;
  GPIO_InitStruct.Speed = GPIO_SPEED_FREQ_LOW;
  HAL_GPIO_Init(GPIOA, &GPIO_InitStruct);

  /*Configure GPIO pins : PB13 PB14 PB4 */
  GPIO_InitStruct.Pin = GPIO_PIN_13|GPIO_PIN_14|GPIO_PIN_4;
  GPIO_InitStruct.Mode = GPIO_MODE_OUTPUT_PP;
  GPIO_InitStruct.Pull = GPIO_NOPULL;
  GPIO_InitStruct.Speed = GPIO_SPEED_FREQ_LOW;
  HAL_GPIO_Init(GPIOB, &GPIO_InitStruct);

}

/* USER CODE BEGIN 4 */

PUTCHAR_PROTOTYPE
{
  /* Place your implementation of fputc here */
  /* e.g. write a character to the USART1 and Loop until the end of transmission */
  HAL_UART_Transmit(&hlpuart1, (uint8_t *)&ch, 1, 0xFFFF);

  return ch;
}

/* USER CODE END 4 */

void Error_Handler(void)
{
  __disable_irq();
  while (1)
  {
  }
}
